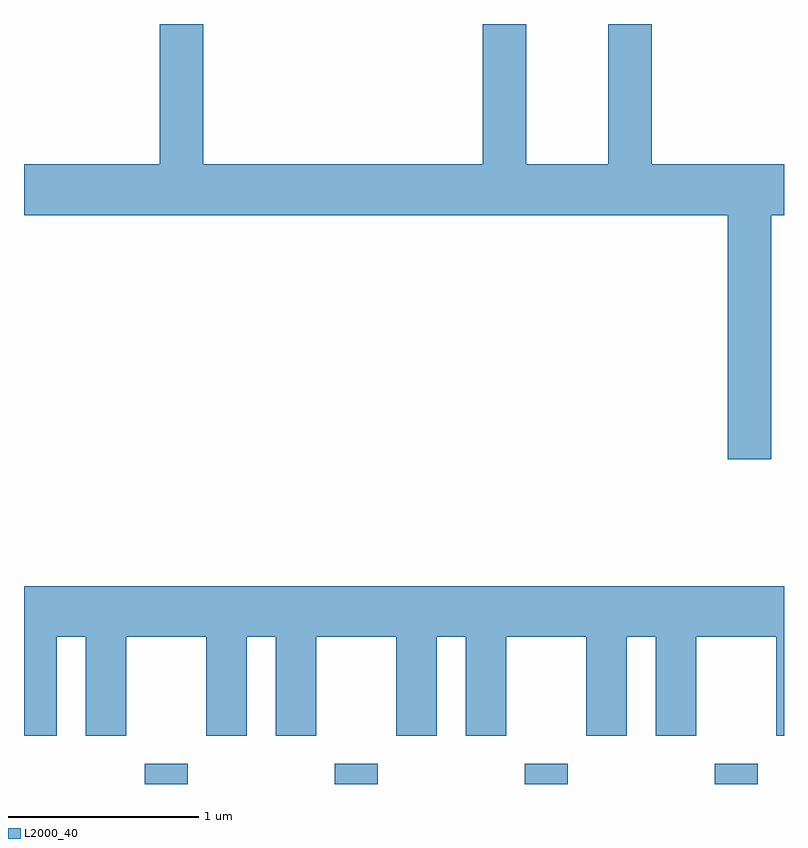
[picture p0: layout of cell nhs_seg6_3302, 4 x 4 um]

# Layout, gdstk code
import gdstk
lib = gdstk.Library(unit=1e-6, precision=1e-09)
def R(c, l, rs):  # rectangles x0, y0, x1, y1
    for r in rs: c.add(gdstk.rectangle(r[:2], r[2:], *l))
def A(c, l, x, y, w, h, nx, ny, dx, dy):  # array of equal rectangles
    R(c, l, [(x+i*dx, y+j*dy, x+i*dx+w, y+j*dy+h) for i in range(nx) for j in range(ny)])
def P(c, l, *ps):  # polygons
    for p in ps: c.add(gdstk.Polygon(p, *l))
L2000_40 = (2000, 40)

nhs_seg6_3302 = lib.new_cell('nhs_seg6_3302')
A(nhs_seg6_3302, L2000_40, 286.246, 1538.162, 0.228, 0.107, 4, 1, 1, 0)
P(nhs_seg6_3302, L2000_40, [(289.544,1541.156),(289.611,1541.156),(289.611,1541.424),(288.914,1541.424),(288.914,1542.162),(288.686,1542.162),(288.686,1541.424),(288.254,1541.424),(288.254,1542.162),(288.026,1542.162),(288.026,1541.424),(286.554,1541.424),(286.554,1542.162),(286.326,1542.162),(286.326,1541.424),(285.611,1541.424),(285.611,1541.156),(289.316,1541.156),(289.316,1539.871),(289.544,1539.871)],
  [(285.784,1538.936),(285.936,1538.936),(285.936,1538.416),(286.149,1538.416),(286.149,1538.936),(286.571,1538.936),(286.571,1538.416),(286.784,1538.416),(286.784,1538.936),(286.936,1538.936),(286.936,1538.416),(287.149,1538.416),(287.149,1538.936),(287.571,1538.936),(287.571,1538.416),(287.784,1538.416),(287.784,1538.936),(287.936,1538.936),(287.936,1538.416),(288.149,1538.416),(288.149,1538.936),(288.571,1538.936),(288.571,1538.416),(288.784,1538.416),(288.784,1538.936),(288.936,1538.936),(288.936,1538.416),(289.149,1538.416),(289.149,1538.936),(289.571,1538.936),(289.571,1538.416),(289.611,1538.416),(289.611,1539.204),(285.611,1539.204),(285.611,1538.416),(285.784,1538.416)])

lib.write_gds('nhs_seg6_3302.gds')
